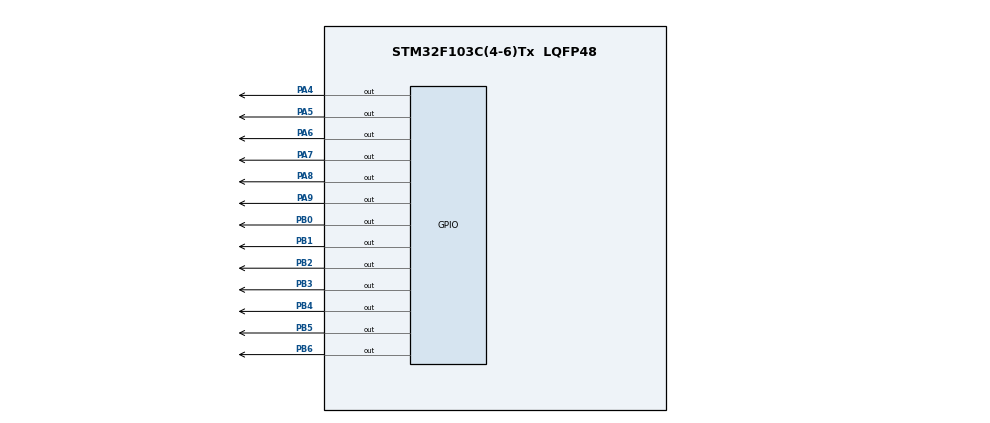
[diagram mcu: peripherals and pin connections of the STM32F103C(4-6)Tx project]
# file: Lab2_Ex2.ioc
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Mcu.Family=STM32F1
Mcu.Name=STM32F103C(4-6)Tx
Mcu.Package=LQFP48
NVIC.PriorityGroup=NVIC_PRIORITYGROUP_4
NVIC.TIM2_IRQn=true\:0\:0\:false\:false\:true\:true\:true
PA4.Signal=GPIO_Output
PA5.Signal=GPIO_Output
PA6.Signal=GPIO_Output
PA7.Signal=GPIO_Output
PA8.Signal=GPIO_Output
PA9.Signal=GPIO_Output
PB0.Signal=GPIO_Output
PB1.Signal=GPIO_Output
PB2.Signal=GPIO_Output
PB3.Signal=GPIO_Output
PB4.Signal=GPIO_Output
PB5.Signal=GPIO_Output
PB6.Signal=GPIO_Output
PD0-OSC_IN.Mode=HSE-External-Oscillator
PD0-OSC_IN.Signal=RCC_OSC_IN
PD1-OSC_OUT.Mode=HSE-External-Oscillator
PD1-OSC_OUT.Signal=RCC_OSC_OUT
ProjectManager.HeapSize=0x200
ProjectManager.StackSize=0x400
ProjectManager.TargetToolchain=STM32CubeIDE
RCC.APB1Freq_Value=8000000
RCC.APB2Freq_Value=8000000
TIM2.Period=9
TIM2.Prescaler=7999
VP_SYS_VS_ND.Mode=No_Debug
VP_TIM2_VS_ClockSourceINT.Mode=Internal
board=custom

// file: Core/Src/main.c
/* USER CODE BEGIN Header */
/**
  ******************************************************************************
  * @file           : main.c
  * @brief          : Main program body
  ******************************************************************************
  * @attention
  *
  * <h2><center>&copy; Copyright (c) 2021 STMicroelectronics.
  * All rights reserved.</center></h2>
  *
  * This software component is licensed by ST under BSD 3-Clause license,
  * the "License"; You may not use this file except in compliance with the
  * License. You may obtain a copy of the License at:
  *                        opensource.org/licenses/BSD-3-Clause
  *
  ******************************************************************************
  */
/* USER CODE END Header */
#include "main.h"

TIM_HandleTypeDef htim2;

void SystemClock_Config(void);
static void MX_GPIO_Init(void);
static void MX_TIM2_Init(void);
void update7SEG(int index);
void updateClockBuffer();

/* USER CODE BEGIN 0 */
uint8_t segmentNumber[10] = {
		0x40,  // 0
		0x79,  // 1
		0x24,  // 2
		0x30,  // 3
		0x19,  // 4
		0x12,  // 5
		0x02,  // 6
		0x78,  // 7
		0x00,  // 8
		0x10   // 9
};

void display7SEG(uint8_t number){
	HAL_GPIO_WritePin(GPIOB, GPIO_PIN_0, ((number>>0)&0x01));
	HAL_GPIO_WritePin(GPIOB, GPIO_PIN_1, ((number>>1)&0x01));
	HAL_GPIO_WritePin(GPIOB, GPIO_PIN_2, ((number>>2)&0x01));
	HAL_GPIO_WritePin(GPIOB, GPIO_PIN_3, ((number>>3)&0x01));
	HAL_GPIO_WritePin(GPIOB, GPIO_PIN_4, ((number>>4)&0x01));
	HAL_GPIO_WritePin(GPIOB, GPIO_PIN_5, ((number>>5)&0x01));
	HAL_GPIO_WritePin(GPIOB, GPIO_PIN_6, ((number>>6)&0x01));
}
int hour = 15 , minute = 8 , second = 50;
/* USER CODE END 0 */

int main(void)
{

  /* MCU Configuration--------------------------------------------------------*/

  /* Reset of all peripherals, Initializes the Flash interface and the Systick. */
  HAL_Init();

  /* Configure the system clock */
  SystemClock_Config();

  /* Initialize all configured peripherals */
  MX_GPIO_Init();
  MX_TIM2_Init();
  /* USER CODE BEGIN 2 */
  HAL_TIM_Base_Start_IT(&htim2);
  /* USER CODE END 2 */

  /* Infinite loop */
  while (1)
  {
	  second ++;
	  if ( second >= 60) {
		  second = 0;
	  	  minute ++;
	  }
	  if( minute >= 60) {
		  minute = 0;
	  	  hour ++;
	  }
	  if( hour >=24) {
		  hour = 0;
	  }
	  updateClockBuffer();
	  HAL_Delay (1000) ;
  }
}

void SystemClock_Config(void)
{
  RCC_OscInitTypeDef RCC_OscInitStruct = {0};
  RCC_ClkInitTypeDef RCC_ClkInitStruct = {0};

  /** Initializes the RCC Oscillators according to the specified parameters
  * in the RCC_OscInitTypeDef structure.
  */
  RCC_OscInitStruct.OscillatorType = RCC_OSCILLATORTYPE_HSI;
  RCC_OscInitStruct.HSIState = RCC_HSI_ON;
  RCC_OscInitStruct.HSICalibrationValue = RCC_HSICALIBRATION_DEFAULT;
  RCC_OscInitStruct.PLL.PLLState = RCC_PLL_NONE;
  if (HAL_RCC_OscConfig(&RCC_OscInitStruct) != HAL_OK)
  {
    Error_Handler();
  }
  /** Initializes the CPU, AHB and APB buses clocks
  */
  RCC_ClkInitStruct.ClockType = RCC_CLOCKTYPE_HCLK|RCC_CLOCKTYPE_SYSCLK
                              |RCC_CLOCKTYPE_PCLK1|RCC_CLOCKTYPE_PCLK2;
  RCC_ClkInitStruct.SYSCLKSource = RCC_SYSCLKSOURCE_HSI;
  RCC_ClkInitStruct.AHBCLKDivider = RCC_SYSCLK_DIV1;
  RCC_ClkInitStruct.APB1CLKDivider = RCC_HCLK_DIV1;
  RCC_ClkInitStruct.APB2CLKDivider = RCC_HCLK_DIV1;

  if (HAL_RCC_ClockConfig(&RCC_ClkInitStruct, FLASH_LATENCY_0) != HAL_OK)
  {
    Error_Handler();
  }
}

static void MX_TIM2_Init(void)
{

  TIM_ClockConfigTypeDef sClockSourceConfig = {0};
  TIM_MasterConfigTypeDef sMasterConfig = {0};

  htim2.Instance = TIM2;
  htim2.Init.Prescaler = 7999;
  htim2.Init.CounterMode = TIM_COUNTERMODE_UP;
  htim2.Init.Period = 9;
  htim2.Init.ClockDivision = TIM_CLOCKDIVISION_DIV1;
  htim2.Init.AutoReloadPreload = TIM_AUTORELOAD_PRELOAD_DISABLE;
  if (HAL_TIM_Base_Init(&htim2) != HAL_OK)
  {
    Error_Handler();
  }
  sClockSourceConfig.ClockSource = TIM_CLOCKSOURCE_INTERNAL;
  if (HAL_TIM_ConfigClockSource(&htim2, &sClockSourceConfig) != HAL_OK)
  {
    Error_Handler();
  }
  sMasterConfig.MasterOutputTrigger = TIM_TRGO_RESET;
  sMasterConfig.MasterSlaveMode = TIM_MASTERSLAVEMODE_DISABLE;
  if (HAL_TIMEx_MasterConfigSynchronization(&htim2, &sMasterConfig) != HAL_OK)
  {
    Error_Handler();
  }

}

static void MX_GPIO_Init(void)
{
  GPIO_InitTypeDef GPIO_InitStruct = {0};

  /* GPIO Ports Clock Enable */
  __HAL_RCC_GPIOD_CLK_ENABLE();
  __HAL_RCC_GPIOA_CLK_ENABLE();
  __HAL_RCC_GPIOB_CLK_ENABLE();

  /*Configure GPIO pin Output Level */
  HAL_GPIO_WritePin(GPIOA, GPIO_PIN_4|GPIO_PIN_5|GPIO_PIN_6|GPIO_PIN_7
                          |GPIO_PIN_8|GPIO_PIN_9, GPIO_PIN_RESET);

  /*Configure GPIO pin Output Level */
  HAL_GPIO_WritePin(GPIOB, GPIO_PIN_0|GPIO_PIN_1|GPIO_PIN_2|GPIO_PIN_3
                          |GPIO_PIN_4|GPIO_PIN_5|GPIO_PIN_6, GPIO_PIN_RESET);

  /*Configure GPIO pins : PA4 PA5 PA6 PA7
                           PA8 PA9 */
  GPIO_InitStruct.Pin = GPIO_PIN_4|GPIO_PIN_5|GPIO_PIN_6|GPIO_PIN_7
                          |GPIO_PIN_8|GPIO_PIN_9;
  GPIO_InitStruct.Mode = GPIO_MODE_OUTPUT_PP;
  GPIO_InitStruct.Pull = GPIO_NOPULL;
  GPIO_InitStruct.Speed = GPIO_SPEED_FREQ_LOW;
  HAL_GPIO_Init(GPIOA, &GPIO_InitStruct);

  /*Configure GPIO pins : PB0 PB1 PB2 PB3
                           PB4 PB5 PB6 */
  GPIO_InitStruct.Pin = GPIO_PIN_0|GPIO_PIN_1|GPIO_PIN_2|GPIO_PIN_3
                          |GPIO_PIN_4|GPIO_PIN_5|GPIO_PIN_6;
  GPIO_InitStruct.Mode = GPIO_MODE_OUTPUT_PP;
  GPIO_InitStruct.Pull = GPIO_NOPULL;
  GPIO_InitStruct.Speed = GPIO_SPEED_FREQ_LOW;
  HAL_GPIO_Init(GPIOB, &GPIO_InitStruct);

}
int counter = 100;
const int MAX_LED = 4;
int index_led = 0;
int led_buffer [4] = {1 , 2 , 3 , 4};
/* USER CODE BEGIN 4 */
void update7SEG (int index) {
	switch (index) {
		case 0:
			// Display the first 7 SEG with led_buffer [0]
			display7SEG(segmentNumber[led_buffer[0]]);
			break;
		case 1:
			// Display the second 7 SEG with led_buffer [1]
			display7SEG(segmentNumber[led_buffer[1]]);
			break;
		case 2:
			// Display the third 7 SEG with led_buffer [2]
			display7SEG(segmentNumber[led_buffer[2]]);
			break;
		case 3:
			// Display the forth 7 SEG with led_buffer [3]
			display7SEG(segmentNumber[led_buffer[3]]);
			break;
		default :
			break;
	}
}

void HAL_TIM_PeriodElapsedCallback (TIM_HandleTypeDef * htim)
{
	counter--;
	if( counter == 75){
		HAL_GPIO_WritePin(GPIOA, GPIO_PIN_6,0);
		HAL_GPIO_WritePin(GPIOA, GPIO_PIN_7,1);
		HAL_GPIO_WritePin(GPIOA, GPIO_PIN_8,1);
		HAL_GPIO_WritePin(GPIOA, GPIO_PIN_9,1);
		update7SEG(index_led);
	}
	if(counter == 50){
		HAL_GPIO_WritePin(GPIOA, GPIO_PIN_6,1);
		HAL_GPIO_WritePin(GPIOA, GPIO_PIN_7,0);
		HAL_GPIO_WritePin(GPIOA, GPIO_PIN_8,1);
		HAL_GPIO_WritePin(GPIOA, GPIO_PIN_9,1);
		update7SEG(++index_led);
		//HAL_GPIO_TogglePin(GPIOA , GPIO_PIN_4);
		//HAL_GPIO_TogglePin(GPIOA , GPIO_PIN_5);
	}
	if(counter == 25) {
		HAL_GPIO_WritePin(GPIOA, GPIO_PIN_6,1);
		HAL_GPIO_WritePin(GPIOA, GPIO_PIN_7,1);
		HAL_GPIO_WritePin(GPIOA, GPIO_PIN_8,0);
		HAL_GPIO_WritePin(GPIOA, GPIO_PIN_9,1);
		update7SEG(++index_led);
	}
	if(counter <= 0) {
		counter = 100;
		HAL_GPIO_WritePin(GPIOA, GPIO_PIN_6,1);
		HAL_GPIO_WritePin(GPIOA, GPIO_PIN_7,1);
		HAL_GPIO_WritePin(GPIOA, GPIO_PIN_8,1);
		HAL_GPIO_WritePin(GPIOA, GPIO_PIN_9,0);
		update7SEG(++index_led);
		HAL_GPIO_TogglePin(GPIOA , GPIO_PIN_4);
		HAL_GPIO_TogglePin(GPIOA , GPIO_PIN_5);
		index_led = 0;
	}
}
void updateClockBuffer() {
	led_buffer[0] = hour / 10;
	led_buffer[1] = hour % 10;
	led_buffer[2] = minute / 10;
	led_buffer[3] = minute % 10;
}
/* USER CODE END 4 */

void Error_Handler(void)
{
  __disable_irq();
  while (1)
  {
  }
}

/************************ (C) COPYRIGHT STMicroelectronics *****END OF FILE****/
